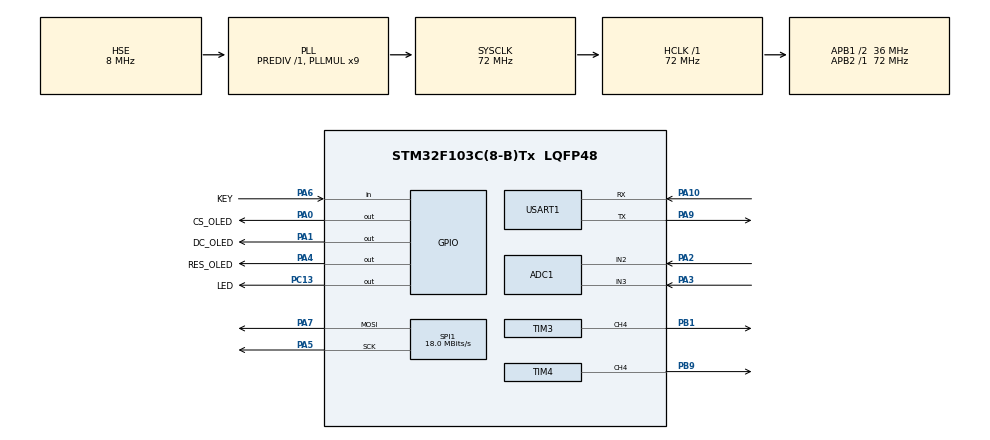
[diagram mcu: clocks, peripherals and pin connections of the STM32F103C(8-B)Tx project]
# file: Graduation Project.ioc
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ADC1.Channel-1\#ChannelRegularConversion=ADC_CHANNEL_3
ADC1.NbrOfConversionFlag=1
ADC1.Rank-1\#ChannelRegularConversion=1
ADC1.SamplingTime-1\#ChannelRegularConversion=ADC_SAMPLETIME_1CYCLE_5
ADC1.master=1
FREERTOS.Events01=alarm_event,Dynamic,NULL
FREERTOS.Mutexes01=oled,Dynamic,NULL,Available
FREERTOS.Tasks01=defaultTask,24,128,StartDefaultTask,Default,NULL,Dynamic,NULL,NULL;Vibration_Task,24,128,Vibration_Task_Function,Default,NULL,Dynamic,NULL,NULL;Pressure_Task,24,128,Pressure_Task_Function,Default,NULL,Dynamic,NULL,NULL;alarm_task,40,128,alarm_task_function,Default,NULL,Dynamic,NULL,NULL
Mcu.Family=STM32F1
Mcu.Name=STM32F103C(8-B)Tx
Mcu.Package=LQFP48
NVIC.PriorityGroup=NVIC_PRIORITYGROUP_4
NVIC.TIM1_UP_IRQn=true\:15\:0\:false\:false\:true\:false\:false\:true\:true
NVIC.TimeBase=TIM1_UP_IRQn
NVIC.TimeBaseIP=TIM1
PA0-WKUP.GPIO_Label=CS_OLED
PA0-WKUP.Signal=GPIO_Output
PA1.GPIO_Label=DC_OLED
PA1.Signal=GPIO_Output
PA10.Mode=Asynchronous
PA10.Signal=USART1_RX
PA13.Mode=Serial_Wire
PA13.Signal=SYS_JTMS-SWDIO
PA14.Mode=Serial_Wire
PA14.Signal=SYS_JTCK-SWCLK
PA2.Signal=ADCx_IN2
PA3.Signal=ADCx_IN3
PA4.GPIO_Label=RES_OLED
PA4.Signal=GPIO_Output
PA5.Mode=TX_Only_Simplex_Unidirect_Master
PA5.Signal=SPI1_SCK
PA6.GPIO_Label=KEY
PA6.GPIO_PuPd=GPIO_PULLUP
PA6.Signal=GPIO_Input
PA7.Mode=TX_Only_Simplex_Unidirect_Master
PA7.Signal=SPI1_MOSI
PA9.Mode=Asynchronous
PA9.Signal=USART1_TX
PB1.Signal=S_TIM3_CH4
PB9.Signal=S_TIM4_CH4
PC13-TAMPER-RTC.GPIO_Label=LED
PC13-TAMPER-RTC.PinState=GPIO_PIN_SET
PC13-TAMPER-RTC.Signal=GPIO_Output
PD0-OSC_IN.Mode=HSE-External-Oscillator
PD0-OSC_IN.Signal=RCC_OSC_IN
PD1-OSC_OUT.Mode=HSE-External-Oscillator
PD1-OSC_OUT.Signal=RCC_OSC_OUT
ProjectManager.HeapSize=0x200
ProjectManager.StackSize=0x400
ProjectManager.TargetToolchain=MDK-ARM V5.32
RCC.ADCPresc=RCC_ADCPCLK2_DIV6
RCC.AHBFreq_Value=72000000
RCC.APB1CLKDivider=RCC_HCLK_DIV2
RCC.APB1Freq_Value=36000000
RCC.APB1TimFreq_Value=72000000
RCC.APB2Freq_Value=72000000
RCC.APB2TimFreq_Value=72000000
RCC.HCLKFreq_Value=72000000
RCC.PLLMUL=RCC_PLL_MUL9
RCC.PLLSourceVirtual=RCC_PLLSOURCE_HSE
RCC.SYSCLKFreq_VALUE=72000000
RCC.SYSCLKSource=RCC_SYSCLKSOURCE_PLLCLK
RCC.USBFreq_Value=72000000
SH.ADCx_IN2.0=ADC1_IN2,IN2
SH.ADCx_IN3.0=ADC1_IN3,IN3
SH.S_TIM3_CH4.0=TIM3_CH4,PWM Generation4 CH4
SH.S_TIM4_CH4.0=TIM4_CH4,PWM Generation4 CH4
SPI1.BaudRatePrescaler=SPI_BAUDRATEPRESCALER_4
SPI1.CalculateBaudRate=18.0 MBits/s
SPI1.Direction=SPI_DIRECTION_2LINES
SPI1.Mode=SPI_MODE_MASTER
SPI1.VirtualType=VM_MASTER
TIM3.Channel-PWM\ Generation4\ CH4=TIM_CHANNEL_4
TIM3.Period=1000-1
TIM3.Prescaler=1440-1
TIM4.Channel-PWM\ Generation4\ CH4=TIM_CHANNEL_4
TIM4.Period=1000-1
TIM4.Prescaler=1440-1
USART1.VirtualMode=VM_ASYNC
VP_FREERTOS_VS_CMSIS_V2.Mode=CMSIS_V2
VP_SYS_VS_tim1.Mode=TIM1
VP_TIM3_VS_ClockSourceINT.Mode=Internal
VP_TIM4_VS_ClockSourceINT.Mode=Internal
board=custom

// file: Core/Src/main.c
/* USER CODE BEGIN Header */
/**
  ******************************************************************************
  * @file           : main.c
  * @brief          : Main program body
  ******************************************************************************
  * @attention
  *
  * Copyright (c) 2026 STMicroelectronics.
  * All rights reserved.
  *
  * This software is licensed under terms that can be found in the LICENSE file
  * in the root directory of this software component.
  * If no LICENSE file comes with this software, it is provided AS-IS.
  *
  ******************************************************************************
  */
/* USER CODE END Header */
#include "main.h"
#include "cmsis_os.h"
#include "adc.h"
#include "spi.h"
#include "tim.h"
#include "usart.h"
#include "gpio.h"

/* USER CODE BEGIN Includes */
#include "oled.h"
/* USER CODE END Includes */

/* USER CODE BEGIN PM */
uint32_t ADC_Read_Channel(uint32_t channel)
{
    ADC_ChannelConfTypeDef sConfig = {0};
    sConfig.Channel = channel;
    sConfig.Rank = 1;
    sConfig.SamplingTime = ADC_SAMPLETIME_239CYCLES_5;
    HAL_ADC_ConfigChannel(&hadc1, &sConfig);

    HAL_ADC_Start(&hadc1);
    HAL_ADC_PollForConversion(&hadc1, 10);
    uint32_t val = HAL_ADC_GetValue(&hadc1);
    HAL_ADC_Stop(&hadc1);
    return val;
}

uint32_t ADC_Read_Channel_Average(uint32_t channel, uint8_t times)
{
    uint32_t sum = 0;
    for (uint8_t i = 0; i < times; i++) {
        sum += ADC_Read_Channel(channel);
        osDelay(1);
    }
    return sum / times;
}
/* USER CODE END PM */

void SystemClock_Config(void);
void MX_FREERTOS_Init(void);

int main(void)
{

  /* MCU Configuration--------------------------------------------------------*/

  /* Reset of all peripherals, Initializes the Flash interface and the Systick. */
  HAL_Init();

  /* Configure the system clock */
  SystemClock_Config();

  /* Initialize all configured peripherals */
  MX_GPIO_Init();
  MX_SPI1_Init();
  MX_USART1_UART_Init();
  MX_ADC1_Init();
  MX_TIM3_Init();
  MX_TIM4_Init();
  /* USER CODE BEGIN 2 */
  HAL_TIM_PWM_Start(&htim3, TIM_CHANNEL_4);  // 舵机
  HAL_TIM_PWM_Start(&htim4, TIM_CHANNEL_4);  // 蜂鸣器

  __HAL_TIM_SET_COMPARE(&htim3, TIM_CHANNEL_4, 0);   // 0° → 比较值 25
  __HAL_TIM_SET_COMPARE(&htim4, TIM_CHANNEL_4, 0);    // 占空比 0% → 蜂鸣器不响

  OLED_Init();
  OLED_Clear();
//  OLED_ShowString(0, 0,"test", 16, 1);
  OLED_Refresh();
  /* USER CODE END 2 */

  /* Init scheduler */
  osKernelInitialize();  /* Call init function for freertos objects (in cmsis_os2.c) */
  MX_FREERTOS_Init();

  /* Start scheduler */
  osKernelStart();

  /* We should never get here as control is now taken by the scheduler */

  /* Infinite loop */
  while (1)
  {

  }
}

void SystemClock_Config(void)
{
  RCC_OscInitTypeDef RCC_OscInitStruct = {0};
  RCC_ClkInitTypeDef RCC_ClkInitStruct = {0};
  RCC_PeriphCLKInitTypeDef PeriphClkInit = {0};

  /** Initializes the RCC Oscillators according to the specified parameters
  * in the RCC_OscInitTypeDef structure.
  */
  RCC_OscInitStruct.OscillatorType = RCC_OSCILLATORTYPE_HSE;
  RCC_OscInitStruct.HSEState = RCC_HSE_ON;
  RCC_OscInitStruct.HSEPredivValue = RCC_HSE_PREDIV_DIV1;
  RCC_OscInitStruct.HSIState = RCC_HSI_ON;
  RCC_OscInitStruct.PLL.PLLState = RCC_PLL_ON;
  RCC_OscInitStruct.PLL.PLLSource = RCC_PLLSOURCE_HSE;
  RCC_OscInitStruct.PLL.PLLMUL = RCC_PLL_MUL9;
  if (HAL_RCC_OscConfig(&RCC_OscInitStruct) != HAL_OK)
  {
    Error_Handler();
  }

  /** Initializes the CPU, AHB and APB buses clocks
  */
  RCC_ClkInitStruct.ClockType = RCC_CLOCKTYPE_HCLK|RCC_CLOCKTYPE_SYSCLK
                              |RCC_CLOCKTYPE_PCLK1|RCC_CLOCKTYPE_PCLK2;
  RCC_ClkInitStruct.SYSCLKSource = RCC_SYSCLKSOURCE_PLLCLK;
  RCC_ClkInitStruct.AHBCLKDivider = RCC_SYSCLK_DIV1;
  RCC_ClkInitStruct.APB1CLKDivider = RCC_HCLK_DIV2;
  RCC_ClkInitStruct.APB2CLKDivider = RCC_HCLK_DIV1;

  if (HAL_RCC_ClockConfig(&RCC_ClkInitStruct, FLASH_LATENCY_2) != HAL_OK)
  {
    Error_Handler();
  }
  PeriphClkInit.PeriphClockSelection = RCC_PERIPHCLK_ADC;
  PeriphClkInit.AdcClockSelection = RCC_ADCPCLK2_DIV6;
  if (HAL_RCCEx_PeriphCLKConfig(&PeriphClkInit) != HAL_OK)
  {
    Error_Handler();
  }
}

void HAL_TIM_PeriodElapsedCallback(TIM_HandleTypeDef *htim)
{
  if (htim->Instance == TIM1)
  {
    HAL_IncTick();
  }
}

void Error_Handler(void)
{
  __disable_irq();
  while (1)
  {
  }
}

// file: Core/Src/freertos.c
/* USER CODE BEGIN Header */
/**
  ******************************************************************************
  * File Name          : freertos.c
  * Description        : Code for freertos applications
  ******************************************************************************
  * @attention
  *
  * Copyright (c) 2026 STMicroelectronics.
  * All rights reserved.
  *
  * This software is licensed under terms that can be found in the LICENSE file
  * in the root directory of this software component.
  * If no LICENSE file comes with this software, it is provided AS-IS.
  *
  ******************************************************************************
  */
/* USER CODE END Header */

#include "FreeRTOS.h"
#include "task.h"
#include "main.h"
#include "cmsis_os.h"

/* USER CODE BEGIN Includes */

#include "oled.h"
#include <stdio.h>
#include <string.h>
#include "tim.h"
#include "multikey.h"
//{
//    HAL_ADC_Start(&hadc1);                       // 启动 ADC
//    HAL_ADC_PollForConversion(&hadc1, 10);       // 等待转换完成
//	HAL_ADC_Stop(&hadc1);
//    return HAL_ADC_GetValue(&hadc1);             // 获取 0~4095 的原始值
//}
/* USER CODE END Includes */

/* USER CODE BEGIN PTD */
uint32_t ADC_Read_Channel(uint32_t channel);
uint32_t ADC_Read_Channel_Average(uint32_t channel, uint8_t times);

/* USER CODE END PTD */

/* USER CODE BEGIN PD */
typedef enum {
    ALARM_PRESSURE = 1 << 0,
    ALARM_VIBRATION = 1 << 1,
    ALARM_ACK      = 1 << 2,   // 按键确认
} Alarm_mock;
/* USER CODE END PD */

/* USER CODE BEGIN PM */
static uint32_t angle_to_ccr(float angle_deg)   // ← 添加函数定义
{
    if (angle_deg < 0)   angle_deg = 0;
    if (angle_deg > 180) angle_deg = 180;
    return (uint32_t)(25 + (angle_deg / 180.0f) * (125 - 25));
}
/* USER CODE END PM */

/* USER CODE BEGIN Variables */
osMutexId_t oledMutexHandle;   // OLED 互斥锁

uint8_t alarm_muted = 0;   // 0: 正常报警, 1: 静音

// ---------- 按键库相关 ----------
static uint8_t Key_ReadPin(MulitKey_t* key);
static void Key_OnPressed(MulitKey_t* key);
static MulitKey_t key1;
/* USER CODE END Variables */
/* Definitions for defaultTask */
osThreadId_t defaultTaskHandle;
const osThreadAttr_t defaultTask_attributes = {
  .name = "defaultTask",
  .stack_size = 128 * 4,
  .priority = (osPriority_t) osPriorityNormal,
};
/* Definitions for Vibration_Task */
osThreadId_t Vibration_TaskHandle;
const osThreadAttr_t Vibration_Task_attributes = {
  .name = "Vibration_Task",
  .stack_size = 128 * 4,
  .priority = (osPriority_t) osPriorityNormal,
};
/* Definitions for Pressure_Task */
osThreadId_t Pressure_TaskHandle;
const osThreadAttr_t Pressure_Task_attributes = {
  .name = "Pressure_Task",
  .stack_size = 128 * 4,
  .priority = (osPriority_t) osPriorityNormal,
};
/* Definitions for alarm_task */
osThreadId_t alarm_taskHandle;
const osThreadAttr_t alarm_task_attributes = {
  .name = "alarm_task",
  .stack_size = 128 * 4,
  .priority = (osPriority_t) osPriorityHigh,
};
/* Definitions for oled */
osMutexId_t oledHandle;
const osMutexAttr_t oled_attributes = {
  .name = "oled"
};
/* Definitions for alarm_event */
osEventFlagsId_t alarm_eventHandle;
const osEventFlagsAttr_t alarm_event_attributes = {
  .name = "alarm_event"
};

void StartDefaultTask(void *argument);
void Vibration_Task_Function(void *argument);
void Pressure_Task_Function(void *argument);
void alarm_task_function(void *argument);

void MX_FREERTOS_Init(void); /* (MISRA C 2004 rule 8.1) */

void MX_FREERTOS_Init(void) {
  /* Create the mutex(es) */
  /* creation of oled */
  oledHandle = osMutexNew(&oled_attributes);

  /* USER CODE BEGIN RTOS_MUTEX */
  oledMutexHandle = osMutexNew(NULL);   // 创建互斥锁
  /* add mutexes, ... */
  /* USER CODE END RTOS_MUTEX */

  /* Create the thread(s) */
  /* creation of defaultTask */
  defaultTaskHandle = osThreadNew(StartDefaultTask, NULL, &defaultTask_attributes);

  /* creation of Vibration_Task */
  Vibration_TaskHandle = osThreadNew(Vibration_Task_Function, NULL, &Vibration_Task_attributes);

  /* creation of Pressure_Task */
  Pressure_TaskHandle = osThreadNew(Pressure_Task_Function, NULL, &Pressure_Task_attributes);

  /* creation of alarm_task */
  alarm_taskHandle = osThreadNew(alarm_task_function, NULL, &alarm_task_attributes);

  /* creation of alarm_event */
  alarm_eventHandle = osEventFlagsNew(&alarm_event_attributes);

}

void StartDefaultTask(void *argument)
{
  /* USER CODE BEGIN StartDefaultTask */
  /* Infinite loop */
  MulitKey_Init(&key1, Key_ReadPin, Key_OnPressed, NULL, FALL_BORDER_TRIGGER);
  for(;;)
  {
      MulitKey_Scan(&key1);
      osDelay(10);   // 扫描间隔 10ms，消抖时间 KEY_DEBOUNCE_TIME 单位是扫描次数，默认 10 次即 100ms
//	vTaskSuspend(defaultTaskHandle);
//    osDelay(1);
  }
  /* USER CODE END StartDefaultTask */
}

/* USER CODE BEGIN Header_Vibration_Task_Function */
/**
* @brief Function implementing the Vibration_Task thread.
* @param argument: Not used
* @retval None
*/
/* USER CODE BEGIN Header_Vibration_Task_Function */
/**
* @brief Function implementing the Vibration_Task thread.
* @param argument: Not used
* @retval None
*/
/* USER CODE END Header_Vibration_Task_Function */
void Vibration_Task_Function(void *argument)
{
  /* USER CODE BEGIN Vibration_Task_Function */
  uint32_t adc_val;
  uint8_t percent;

  for(;;)
  {
    // 读取 PA3 (ADC_CH3) 平均值
    adc_val = ADC_Read_Channel_Average(ADC_CHANNEL_3, 10);
    // 计算归一化百分比（假设最大值为 3500，可根据实际调整）
    percent = (uint8_t)((float)adc_val / 3500.0f * 100.0f);
    if (percent > 100) percent = 100;

    // 获取 OLED 互斥锁（压力任务也可能在写，必须保护）
    if (osMutexAcquire(oledMutexHandle, 100) == osOK) {
        char buf[20];
        sprintf(buf, "Vib:%4d %3d%%", (int)adc_val, percent);
        OLED_ShowString(0, 16, (uint8_t*)buf, 16, 1);
        OLED_Refresh();
        osMutexRelease(oledMutexHandle);
    }
//    if (osMutexAcquire(oledMutexHandle, 100) == osOK) {
//        char buf[20];
//        OLED_ShowString(0, 48, "Vib:", 16, 1);
//        sprintf(buf, "%4d %3d%%", (int)adc_val, percent);
//        OLED_ShowString(40, 48, (uint8_t*)buf, 16, 1);
//        // 绘制幅度条（x=0, y=56，宽128，高8）
//        OLED_DrawBar(0, 56, 128, 8, percent, 100);
//        OLED_Refresh();
//        osMutexRelease(oledMutexHandle);
//    }

    // 振动报警（阈值 30%）
    if (percent > 20) {
        osEventFlagsSet(alarm_eventHandle,ALARM_VIBRATION);
	}
//    } else {
//		__HAL_TIM_SET_COMPARE(&htim3,TIM_CHANNEL_3,0);
//		HAL_GPIO_WritePin(LED_GPIO_Port,LED_Pin,GPIO_PIN_SET);
//        osEventFlagsClear(alarm_eventHandle,ALARM_VIBRATION);
//    }

//    printf("%d\n",percent);
    osDelay(100);
  }
  /* USER CODE END Vibration_Task_Function */
}

void Pressure_Task_Function(void *argument)
{
  /* USER CODE BEGIN Pressure_Task_Function */
  // 压力传感器校准参数（需根据实际传感器调整）
  const float VCC = 3300.0f;          // ADC 参考电压 mV
  const float Voltage_0 = 160.0f;     // 零点电压 mV
  const float Voltage_40 = 3750.0f;   // 满量程电压 mV (对应 40kPa)
  const float Pressure_Full = 40000.0f; // 满量程压力值 Pa

  char buf[20];
  uint32_t adc_raw;
  float voltage_mV;
  float pressure_Pa;

  for(;;)
  {
    // 读取 PA2 (ADC_CH2) 平均值
    adc_raw = ADC_Read_Channel_Average(ADC_CHANNEL_2, 10);
    voltage_mV = (adc_raw * VCC) / 4095.0f;
    // 线性映射
    if (voltage_mV <= Voltage_0) {
        pressure_Pa = 0.0f;
    } else if (voltage_mV >= Voltage_40) {
        pressure_Pa = Pressure_Full;
    } else {
        pressure_Pa = (voltage_mV - Voltage_0) * Pressure_Full / (Voltage_40 - Voltage_0);
    }

    // 获取 OLED 互斥锁
    if (osMutexAcquire(oledMutexHandle, 100) == osOK) {
        // 第一行：压力值
        sprintf(buf, "Pre:%5.0f Pa", (double)pressure_Pa);
        OLED_ShowString(0, 0, (uint8_t*)buf, 16, 1);
        OLED_Refresh();
        osMutexRelease(oledMutexHandle);
    }
//    if (osMutexAcquire(oledMutexHandle, 100) == osOK) {
//        OLED_ShowString(0, 0, "Pressure:", 16, 1);
//        sprintf(buf, "%5.0f Pa ", (double)pressure_Pa);
//        OLED_ShowString(0, 16, (uint8_t*)buf, 16, 1);
//        sprintf(buf, "%4.0f mV ", (double)voltage_mV);
//        OLED_ShowString(0, 32, (uint8_t*)buf, 16, 1);
//        OLED_Refresh();
//        osMutexRelease(oledMutexHandle);
//    }

    // 压力报警（阈值可调）
    if (pressure_Pa > 20000.0f)
    {
		osEventFlagsSet(alarm_eventHandle,ALARM_PRESSURE);
    }
//    else
//    {
//		__HAL_TIM_SET_COMPARE(&htim3,TIM_CHANNEL_3,0);
//		HAL_GPIO_WritePin(LED_GPIO_Port,LED_Pin,GPIO_PIN_SET);
//        osEventFlagsClear(alarm_eventHandle,ALARM_PRESSURE);
//    }

    printf("%.1f\n",pressure_Pa);
    osDelay(100);
  }
  /* USER CODE END Pressure_Task_Function */
}

void alarm_task_function(void *argument)
{
  /* USER CODE BEGIN alarm_task_function */
    const uint32_t ALL_ALARMS = ALARM_PRESSURE | ALARM_VIBRATION;
    const uint32_t AUDIO_PSC = 72 - 1;   // 计数频率 = 72MHz / 72 = 1MHz
    uint32_t freq_low  = 1000;           // ARR=1000 → 1kHz
    uint32_t freq_high = 500;            // ARR=500  → 2kHz
    int32_t  dir = 1;
    uint32_t arr_val = freq_low;

    for(;;)
    {
        // 1. 等待传感器报警
        osEventFlagsWait(alarm_eventHandle,
                         ALL_ALARMS,
                         osFlagsWaitAny | osFlagsNoClear,
                         osWaitForever);

        // 2. 激活舵机和LED
        __HAL_TIM_SET_COMPARE(&htim3, TIM_CHANNEL_4, angle_to_ccr(90.0f));  // 舵机90°
        HAL_GPIO_WritePin(LED_GPIO_Port, LED_Pin, GPIO_PIN_RESET);          // LED亮

        /* ---------- 配置 TIM4 为音频输出 ---------- */
        HAL_TIM_PWM_Stop(&htim4, TIM_CHANNEL_4);               // 先停止原 PWM
        htim4.Init.Prescaler = AUDIO_PSC;                      // 1MHz
        htim4.Init.Period    = freq_low - 1;
        HAL_TIM_PWM_Init(&htim4);                              // 重新初始化
        __HAL_TIM_SET_COMPARE(&htim4, TIM_CHANNEL_4, (freq_low - 1) / 2); // 50%占空比
        HAL_TIM_PWM_Start(&htim4, TIM_CHANNEL_4);              // 启动音频输出

        /* ---------- 警报声扫频循环，直到按键按下 ---------- */
        while (1)
        {
            // 检查按键确认标志
            if (osEventFlagsGet(alarm_eventHandle) & ALARM_ACK)
                break;

            // 更新频率：在 freq_low ~ freq_high 之间往复
            if (arr_val >= freq_low)      dir = -1;
            else if (arr_val <= freq_high) dir = 1;
            arr_val += dir * 5;           // 每步改变5个ARR单位，控制扫频速度

            // 直接写寄存器修改频率和占空比
            TIM4->ARR  = arr_val - 1;
            TIM4->CCR4 = (arr_val - 1) / 2;

            osDelay(10);                  // 10ms 更新一次，听感流畅
        }

        /* ---------- 解除报警 ---------- */
        // 关闭蜂鸣器
        HAL_TIM_PWM_Stop(&htim4, TIM_CHANNEL_4);
        // 舵机归零、LED灭
        __HAL_TIM_SET_COMPARE(&htim3, TIM_CHANNEL_4, angle_to_ccr(0.0f));
        HAL_GPIO_WritePin(LED_GPIO_Port, LED_Pin, GPIO_PIN_SET);

        // 清除所有报警标志，准备下一次触发
        osEventFlagsClear(alarm_eventHandle, ALL_ALARMS | ALARM_ACK);

        // 重置扫频起始值，为下次报警做准备
        arr_val = freq_low;
    }
  /* USER CODE END alarm_task_function */
}

/* USER CODE BEGIN Application */
// 读引脚回调：按下返回0（低电平），释放返回1
static uint8_t Key_ReadPin(MulitKey_t* key)
{
    // 根据你的实际引脚修改，例如 KEY_GPIO_Port, KEY_Pin
    return HAL_GPIO_ReadPin(KEY_GPIO_Port, KEY_Pin);
}

// 按下回调：发送确认事件
static void Key_OnPressed(MulitKey_t* key)
{
    osEventFlagsSet(alarm_eventHandle, ALARM_ACK);
}
/* USER CODE END Application */
